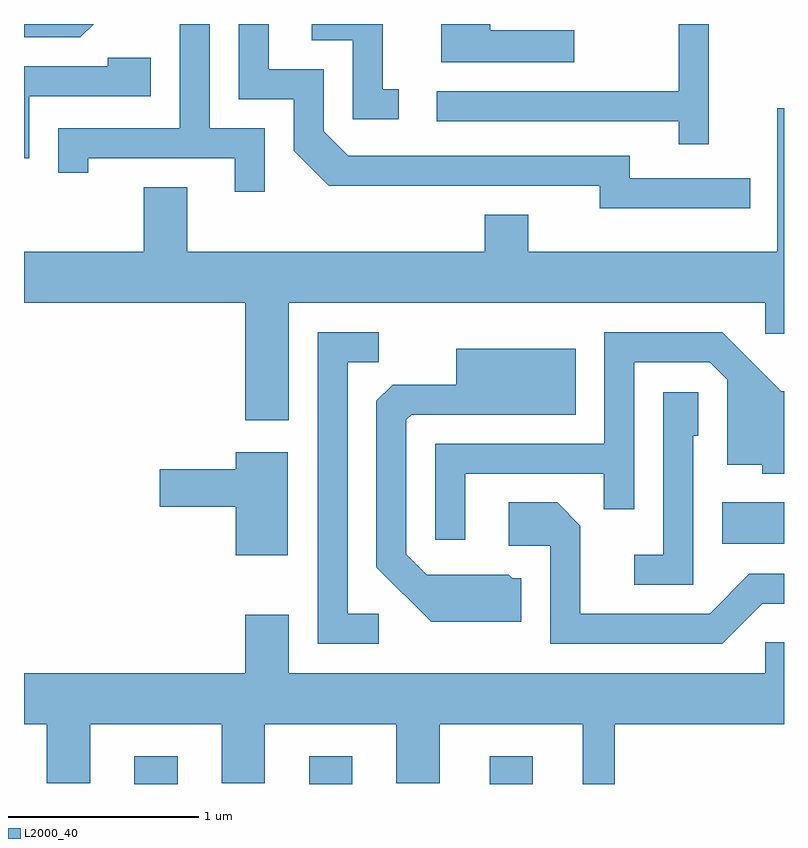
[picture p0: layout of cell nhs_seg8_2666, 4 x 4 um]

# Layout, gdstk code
import gdstk
lib = gdstk.Library(unit=1e-6, precision=1e-09)
def R(c, l, rs):  # rectangles x0, y0, x1, y1
    for r in rs: c.add(gdstk.rectangle(r[:2], r[2:], *l))
def P(c, l, *ps):  # polygons
    for p in ps: c.add(gdstk.Polygon(p, *l))
L2000_40 = (2000, 40)

nhs_seg8_2666 = lib.new_cell('nhs_seg8_2666')
R(nhs_seg8_2666, L2000_40, [(266.191,1818.342,266.419,1818.489), (267.111,1818.342,267.339,1818.489), (268.061,1818.342,268.289,1818.489), (269.286,1819.606,269.611,1819.824)])
P(nhs_seg8_2666, L2000_40, [(269.433,1821.529),(268.799,1821.529),(268.799,1821.649),(267.317,1821.649),(267.189,1821.777),(267.189,1822.104),(266.899,1822.104),(266.899,1822.342),(266.741,1822.342),(266.741,1821.946),(267.031,1821.946),(267.031,1821.674),(267.214,1821.491),(268.641,1821.491),(268.641,1821.371),(269.433,1821.371)],
  [(269.214,1822.342),(269.056,1822.342),(269.056,1821.989),(267.783,1821.989),(267.783,1821.831),(269.056,1821.831),(269.056,1821.708),(269.214,1821.708)],
  [(268.508,1822.309),(268.064,1822.309),(268.064,1822.342),(267.806,1822.342),(267.806,1822.141),(268.508,1822.141)],
  [(266.879,1821.794),(266.589,1821.794),(266.589,1822.342),(266.431,1822.342),(266.431,1821.794),(265.791,1821.794),(265.791,1821.558),(265.949,1821.558),(265.949,1821.636),(266.721,1821.636),(266.721,1821.458),(266.879,1821.458)],
  [(267.583,1821.999),(267.499,1821.999),(267.499,1822.342),(267.126,1822.342),(267.126,1822.256),(267.341,1822.256),(267.341,1821.841),(267.583,1821.841)],
  [(265.978,1822.342),(265.611,1822.342),(265.611,1822.271),(265.907,1822.271)],
  [(265.639,1821.961),(266.279,1821.961),(266.279,1822.164),(266.051,1822.164),(266.051,1822.119),(265.611,1822.119),(265.611,1821.636),(265.639,1821.636)],
  [(267.004,1820.876),(269.511,1820.876),(269.511,1820.711),(269.611,1820.711),(269.611,1821.898),(269.576,1821.898),(269.576,1821.144),(268.264,1821.144),(268.264,1821.339),(268.036,1821.339),(268.036,1821.144),(266.469,1821.144),(266.469,1821.484),(266.241,1821.484),(266.241,1821.144),(265.611,1821.144),(265.611,1820.876),(266.776,1820.876),(266.776,1820.256),(267.004,1820.256)],
  [(267.478,1819.239),(267.314,1819.239),(267.314,1820.561),(267.478,1820.561),(267.478,1820.719),(267.156,1820.719),(267.156,1819.081),(267.478,1819.081)],
  [(267.934,1819.976),(268.661,1819.976),(268.661,1819.788),(268.824,1819.788),(268.824,1820.561),(269.219,1820.561),(269.311,1820.469),(269.311,1820.021),(269.496,1820.021),(269.496,1819.976),(269.611,1819.976),(269.611,1820.409),(269.597,1820.409),(269.287,1820.719),(268.666,1820.719),(268.666,1820.134),(267.776,1820.134),(267.776,1819.628),(267.934,1819.628)],
  [(268.229,1819.424),(268.182,1819.424),(268.162,1819.444),(267.732,1819.444),(267.624,1819.552),(267.624,1820.259),(267.652,1820.286),(268.514,1820.286),(268.514,1820.634),(267.886,1820.634),(267.886,1820.444),(267.552,1820.444),(267.466,1820.359),(267.466,1819.484),(267.754,1819.196),(268.229,1819.196)],
  [(269.134,1820.176),(269.159,1820.176),(269.159,1820.404),(268.976,1820.404),(268.976,1819.549),(268.823,1819.549),(268.823,1819.391),(269.134,1819.391)],
  [(266.999,1820.089),(266.726,1820.089),(266.726,1819.999),(266.326,1819.999),(266.326,1819.801),(266.726,1819.801),(266.726,1819.546),(266.999,1819.546)],
  [(269.497,1819.291),(269.611,1819.291),(269.611,1819.449),(269.429,1819.449),(269.219,1819.239),(268.539,1819.239),(268.539,1819.702),(268.417,1819.824),(268.161,1819.824),(268.161,1819.596),(268.381,1819.596),(268.381,1819.081),(269.287,1819.081)],
  [(268.719,1818.656),(269.611,1818.656),(269.611,1819.089),(269.511,1819.089),(269.511,1818.924),(267.004,1818.924),(267.004,1819.234),(266.776,1819.234),(266.776,1818.924),(265.611,1818.924),(265.611,1818.656),(265.731,1818.656),(265.731,1818.346),(265.959,1818.346),(265.959,1818.656),(266.651,1818.656),(266.651,1818.346),(266.879,1818.346),(266.879,1818.656),(267.571,1818.656),(267.571,1818.346),(267.799,1818.346),(267.799,1818.656),(268.551,1818.656),(268.551,1818.342),(268.719,1818.342)])

lib.write_gds('nhs_seg8_2666.gds')
